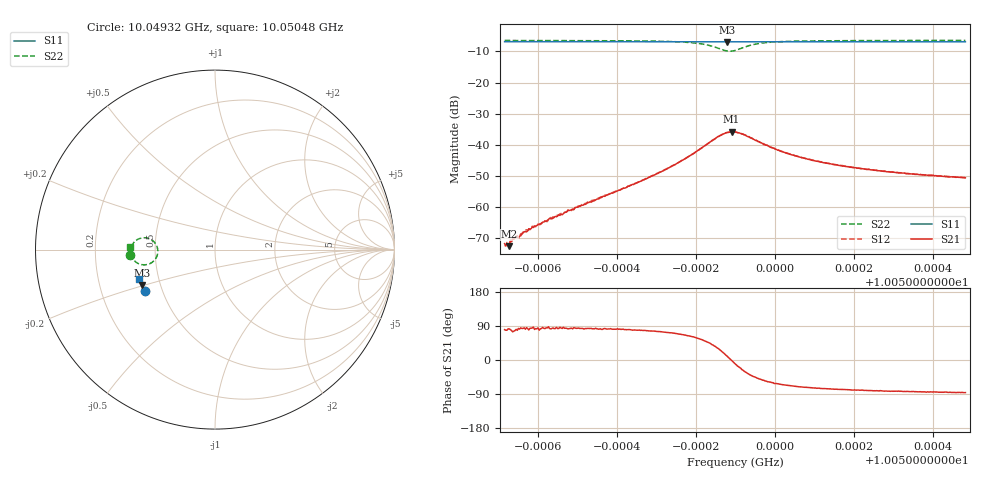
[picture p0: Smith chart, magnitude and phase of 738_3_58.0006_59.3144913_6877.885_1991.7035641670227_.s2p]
#  HZ  S  RI  R  50.00
! Rohde & Schwarz Vector Network Analyzer
! Rohde-Schwarz,ZNB20-2Port,1311601062101988,3.16
! Created: UTC 3/21/2024, 1:23:23 AM
! freq[Hz]  re:S11  im:S11  re:S21  im:S21  re:S12  im:S12  re:S22  im:S22
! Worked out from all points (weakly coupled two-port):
!   401 points, 10.04932 GHz to 10.05048 GHz, reference 50 ohm
!   highest |S21| = -35.81 dB at 10.04989 GHz (marker M1); lowest = -72.6 dB at 10.04933 GHz (marker M2)
!   lowest |S11| = -6.9 dB at 10.04988 GHz (marker M3), VSWR 2.65, Z = 19.7 - j9.76 ohm
!   |S11| at or under -10 dB: nowhere
!   |S22| runs from -9.9 to -6.5 dB; largest |S21 - S12| = 0.0013
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1.0049316e10  -0.3914 -0.2304  4.46e-05 0.000253  2.78e-05 0.000241  -0.4738 -0.028
1.0049322e10  -0.3916 -0.2301  5.04e-05 0.000249  1.49e-05 0.000268  -0.4738 -0.0274
1.0049328e10  -0.3916 -0.2297  3.22e-05 0.000232  2.03e-05 0.000271  -0.4738 -0.0269
1.0049342e10  -0.3922 -0.2289  6.76e-05 0.00031  3.17e-05 0.000308  -0.4736 -0.0256
1.0049354e10  -0.3926 -0.2282  5.02e-05 0.000337  4.86e-05 0.000342  -0.4737 -0.0244
1.0049383e10  -0.3935 -0.2265  4.82e-05 0.000445  3.01e-05 0.000445  -0.4735 -0.0216
1.0049433e10  -0.3951 -0.2235  8.88e-05 0.00064  4.62e-05 0.000675  -0.4732 -0.0164
1.0049511e10  -0.3974 -0.219  0.000127 0.00106  5.73e-05 0.00109  -0.4723 -0.00736
1.0049707e10  -0.4031 -0.2073  0.000914 0.00343  0.000722 0.00351  -0.4608 0.0273
1.0049753e10  -0.4044 -0.2044  0.00179 0.00474  0.00155 0.00482  -0.4504 0.0416
1.0049809e10  -0.4056 -0.2006  0.00468 0.00694  0.00426 0.00718  -0.4193 0.0622
1.004985e10  -0.4061 -0.198  0.0102 0.00737  0.0098 0.00792  -0.3646 0.0604
1.0049879e10  -0.4063 -0.1967  0.0154 0.00291  0.0152 0.00387  -0.3216 0.0125
1.004989e10  -0.4065 -0.1964  0.0162 -0.000306  0.016 0.000888  -0.3191 -0.018
1.0049899e10  -0.4067 -0.196  0.0159 -0.00274  0.0161 -0.00147  -0.3251 -0.0401
1.0049928e10  -0.4079 -0.195  0.0115 -0.00767  0.0121 -0.00692  -0.3723 -0.0818
1.0049969e10  -0.4095 -0.1926  0.00625 -0.00834  0.00691 -0.00797  -0.4256 -0.0783
1.0050024e10  -0.4112 -0.1893  0.00309 -0.00685  0.00354 -0.0067  -0.4547 -0.0559
1.0050094e10  -0.4132 -0.1851  0.0016 -0.0054  0.00197 -0.00533  -0.4668 -0.0352
1.0050182e10  -0.4155 -0.1796  0.000918 -0.00436  0.00118 -0.00433  -0.4721 -0.0182
1.005029e10  -0.4181 -0.1729  0.000491 -0.00363  0.000744 -0.00361  -0.4741 -0.00311
1.0050482e10  -0.4224 -0.1611  0.000206 -0.00293  0.000377 -0.00292  -0.4749 0.0166
